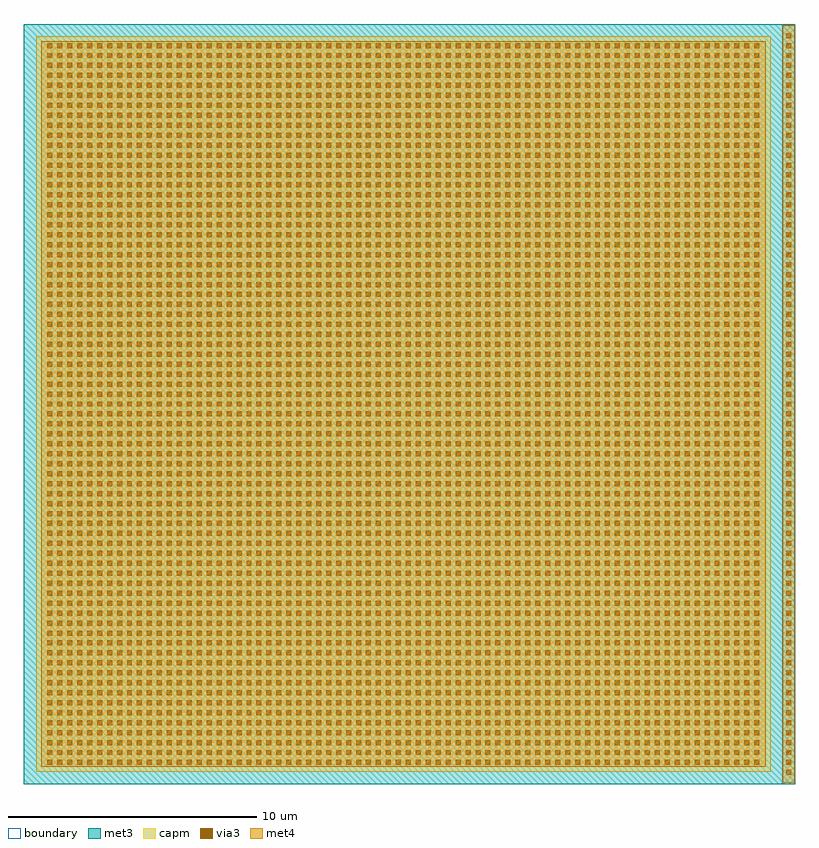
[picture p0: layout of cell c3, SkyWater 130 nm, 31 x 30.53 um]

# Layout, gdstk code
import gdstk
lib = gdstk.Library(unit=1e-6, precision=1e-09)
def R(c, l, rs):  # rectangles x0, y0, x1, y1
    for r in rs: c.add(gdstk.rectangle(r[:2], r[2:], *l))
def A(c, l, x, y, w, h, nx, ny, dx, dy):  # array of equal rectangles
    R(c, l, [(x+i*dx, y+j*dy, x+i*dx+w, y+j*dy+h) for i in range(nx) for j in range(ny)])
met3 = (70, 20)
via3 = (70, 44)
met4 = (71, 20)
capm = (89, 44)
boundary = (235, 4)

c_c3 = lib.new_cell('c3')
R(c_c3, met3, [(0,0,30.995,30.53)])
A(c_c3, via3, 30.635, 0.365, 0.2, 0.2, 1, 75, 0, 0.4)
A(c_c3, via3, 0.95, 0.765, 0.2, 0.2, 72, 73, 0.4, 0.4)
R(c_c3, met4, [(30.495,0.06,30.975,30.47), (0.695,0.695,29.805,29.835)])
R(c_c3, capm, [(0.5,0.5,30,30.03)])
R(c_c3, boundary, [(0,0,30.5,30.53)])

lib.write_gds('c3.gds')
